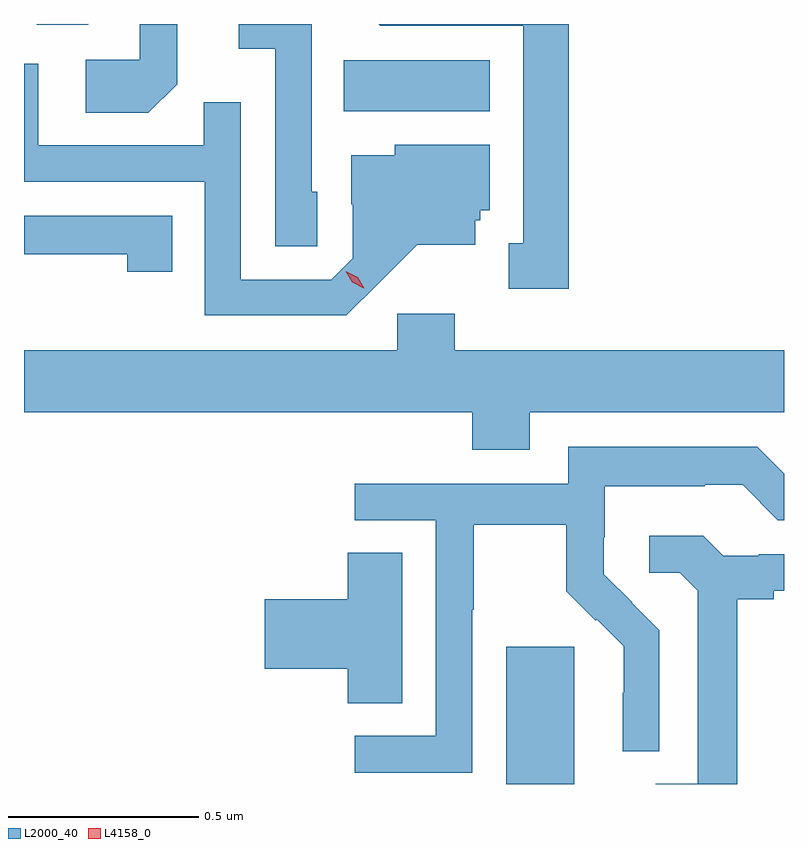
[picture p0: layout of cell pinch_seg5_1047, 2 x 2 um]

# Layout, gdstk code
import gdstk
lib = gdstk.Library(unit=1e-6, precision=1e-09)
def R(c, l, rs):  # rectangles x0, y0, x1, y1
    for r in rs: c.add(gdstk.rectangle(r[:2], r[2:], *l))
def P(c, l, *ps):  # polygons
    for p in ps: c.add(gdstk.Polygon(p, *l))
L2000_40 = (2000, 40)
L4158_0 = (4158, 0)

pinch_seg5_1047 = lib.new_cell('pinch_seg5_1047')
R(pinch_seg5_1047, L2000_40, [(707.891,843.794,708.07,844.155), (707.464,845.564,707.848,845.698)])
P(pinch_seg5_1047, L2000_40, [(707.394,845.352),(707.379,845.352),(707.379,845.794),(707.187,845.794),(707.187,845.729),(707.283,845.729),(707.283,845.209),(707.394,845.209)],
  [(707.025,845.636),(707.025,845.794),(706.926,845.794),(706.926,845.7),(706.785,845.7),(706.785,845.56),(706.949,845.56)],
  [(708.055,845.794),(707.555,845.794),(707.559,845.79),(707.936,845.79),(707.936,845.217),(707.897,845.217),(707.897,845.097),(708.055,845.097)],
  [(706.792,845.794),(706.622,845.794),(706.622,845.793),(706.656,845.793),(706.656,845.792),(706.79,845.792)],
  [(707.554,845.111),(707.657,845.213),(707.809,845.213),(707.809,845.277),(707.823,845.277),(707.823,845.304),(707.848,845.304),(707.848,845.476),(707.598,845.476),(707.598,845.449),(707.483,845.449),(707.483,845.32),(707.487,845.32),(707.487,845.178),(707.43,845.121),(707.193,845.121),(707.193,845.588),(707.095,845.588),(707.095,845.475),(706.659,845.475),(706.659,845.689),(706.622,845.689),(706.622,845.379),(707.097,845.379),(707.097,845.028),(707.47,845.028)],
  [(707.012,845.289),(706.622,845.289),(706.622,845.188),(706.894,845.188),(706.894,845.142),(707.012,845.142)],
  [(707.953,844.772),(708.622,844.772),(708.622,844.936),(707.756,844.936),(707.756,845.032),(707.604,845.032),(707.604,844.936),(706.622,844.936),(706.622,844.772),(707.801,844.772),(707.801,844.673),(707.953,844.673)],
  [(707.802,844.252),(707.805,844.252),(707.805,844.476),(708.049,844.476),(708.049,844.301),(708.126,844.224),(708.129,844.227),(708.2,844.157),(708.2,844.034),(708.198,844.034),(708.198,843.88),(708.294,843.88),(708.294,844.198),(708.221,844.271),(708.222,844.272),(708.148,844.346),(708.148,844.443),(708.15,844.443),(708.15,844.577),(708.413,844.577),(708.413,844.581),(708.513,844.581),(708.606,844.488),(708.622,844.488),(708.622,844.61),(708.551,844.681),(708.054,844.681),(708.054,844.584),(707.493,844.584),(707.493,844.488),(707.706,844.488),(707.706,843.921),(707.493,843.921),(707.493,843.823),(707.802,843.823)],
  [(708.499,844.28),(708.595,844.28),(708.595,844.302),(708.622,844.302),(708.622,844.398),(708.556,844.398),(708.556,844.395),(708.462,844.395),(708.41,844.447),(708.267,844.447),(708.267,844.35),(708.348,844.35),(708.395,844.303),(708.395,843.795),(708.285,843.795),(708.285,843.794),(708.499,843.794)],
  [(707.617,844.403),(707.474,844.403),(707.474,844.28),(707.256,844.28),(707.256,844.097),(707.474,844.097),(707.474,844.006),(707.617,844.006)])
P(pinch_seg5_1047, L4158_0, [(707.516,845.098),(707.486,845.114),(707.469,845.143),(707.469,845.143),(707.469,845.143),(707.5,845.128),(707.517,845.098),(707.517,845.098)])

lib.write_gds('pinch_seg5_1047.gds')
